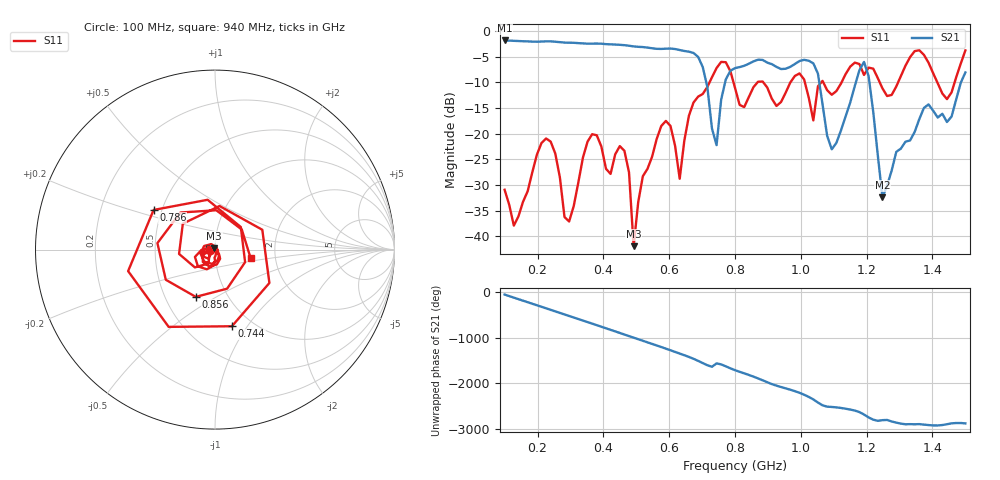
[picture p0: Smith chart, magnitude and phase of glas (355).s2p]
! NanoVNA-App
! Date: 2025-09-25 15:58:14
! Start: 100MHz Stop: 1,5GHz Points: 101
! S-Parameter data: F S11 S21 S12 S22
# Hz S RI R 50
!  Frequency  S11_Real  S11_Imag  S21_Real  S21_Imag  S12_Real  S12_Imag  S22_Real  S22_Imag
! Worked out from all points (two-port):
!   101 points, 100 MHz to 1.5 GHz, reference 50 ohm
!   highest |S21| = -1.80 dB at 100 MHz (marker M1); lowest = -32.4 dB at 1.248 GHz (marker M2)
!   |S21| within 3 dB of the highest: start of sweep to 684.2 MHz
!   lowest |S11| = -41.9 dB at 492 MHz (marker M3), VSWR 1.02, Z = 49.5 + j0.619 ohm
!   |S11| at or under -10 dB: start of sweep to 722.5 MHz; 795.5 MHz to 868.1 MHz (72.61 MHz wide, 8.73 % of centre); 886.2 MHz to 968.1 MHz (81.86 MHz wide, 8.83 % of centre) (the widest 3 of 7)
!   S12 and S22 are empty: the file has one direction only
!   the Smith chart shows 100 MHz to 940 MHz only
!   S11 on the Smith chart (normalised r, x): 100 MHz: 0.95, -0.01; 744 MHz: 0.81, -0.85; 786 MHz: 0.45, +0.24; 856 MHz: 0.71, -0.41; 940 MHz: 1.49, -0.15
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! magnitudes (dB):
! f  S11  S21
! 100 MHz  -30.9  -1.8
! 128 MHz  -37.9  -1.9
! 226 MHz  -20.9  -2.0
! 296 MHz  -37.1  -2.2
! 338 MHz  -24.7  -2.4
! 464 MHz  -23.3  -2.7
! 492 MHz  -41.9  -3.0
! 576 MHz  -18.5  -3.5
! 632 MHz  -28.8  -3.7
! 702 MHz  -12.2  -7.0
! 744 MHz  -7.2  -22.2
! 786 MHz  -7.8  -7.7
! 800 MHz  -11.0  -7.2
! 856 MHz  -10.9  -5.9
! 940 MHz  -13.8  -7.4
! 996 MHz  -8.2  -5.8
! 1.038 GHz  -17.4  -6.3
! 1.094 GHz  -12.4  -23.0
! 1.192 GHz  -8.5  -6.0
! 1.248 GHz  -11.2  -32.4
! 1.276 GHz  -12.4  -27.2
! 1.5 GHz  -3.7  -8.0
